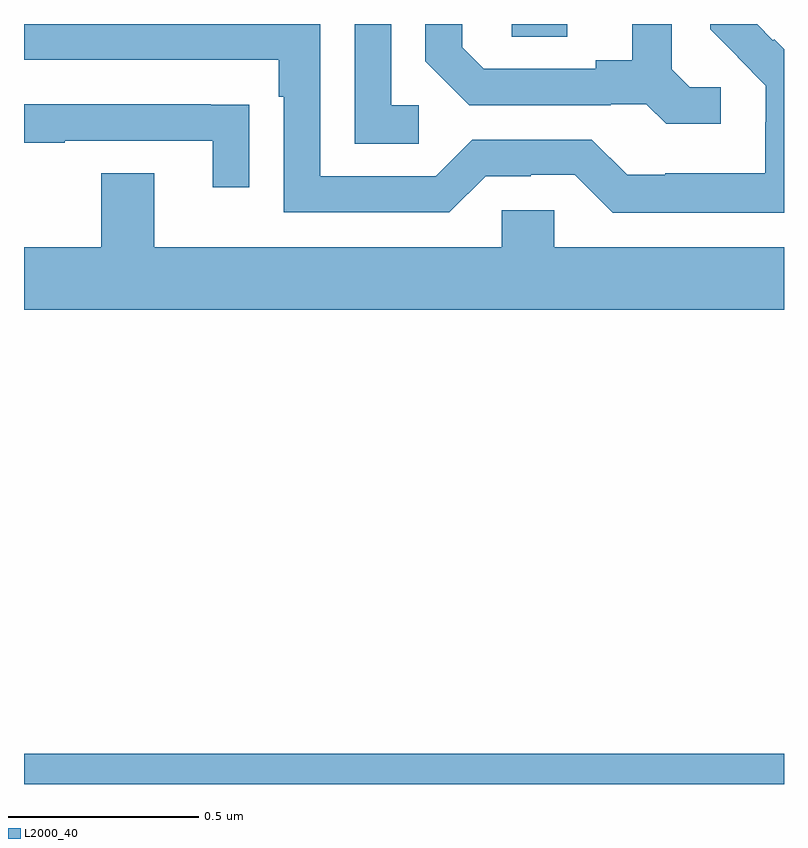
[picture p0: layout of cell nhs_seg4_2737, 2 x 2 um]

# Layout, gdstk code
import gdstk
lib = gdstk.Library(unit=1e-6, precision=1e-09)
def R(c, l, rs):  # rectangles x0, y0, x1, y1
    for r in rs: c.add(gdstk.rectangle(r[:2], r[2:], *l))
def P(c, l, *ps):  # polygons
    for p in ps: c.add(gdstk.Polygon(p, *l))
L2000_40 = (2000, 40)

nhs_seg4_2737 = lib.new_cell('nhs_seg4_2737')
R(nhs_seg4_2737, L2000_40, [(144,800.9,146,800.98), (145.284,802.867,145.429,802.9)])
P(nhs_seg4_2737, L2000_40, [(145.834,802.734),(145.752,802.734),(145.705,802.781),(145.705,802.9),(145.601,802.9),(145.601,802.805),(145.505,802.805),(145.505,802.782),(145.21,802.782),(145.153,802.839),(145.153,802.9),(145.056,802.9),(145.056,802.802),(145.172,802.686),(145.544,802.686),(145.544,802.689),(145.638,802.689),(145.69,802.637),(145.834,802.637)],
  [(145.039,802.686),(144.966,802.686),(144.966,802.9),(144.87,802.9),(144.87,802.585),(145.039,802.585)],
  [(146,802.834),(145.974,802.86),(145.971,802.857),(145.929,802.9),(145.806,802.9),(145.806,802.886),(145.879,802.813),(145.878,802.812),(145.952,802.738),(145.952,802.641),(145.95,802.641),(145.95,802.507),(145.687,802.507),(145.687,802.503),(145.587,802.503),(145.494,802.596),(145.179,802.596),(145.083,802.5),(144.78,802.5),(144.78,802.9),(144,802.9),(144,802.806),(144.671,802.806),(144.671,802.709),(144.684,802.709),(144.684,802.404),(145.119,802.404),(145.215,802.5),(145.334,802.5),(145.334,802.503),(145.449,802.503),(145.549,802.403),(146,802.403)],
  [(144.593,802.688),(144.491,802.688),(144.491,802.689),(144,802.689),(144,802.588),(144.107,802.588),(144.107,802.593),(144.497,802.593),(144.497,802.47),(144.593,802.47)],
  [(146,802.312),(145.395,802.312),(145.395,802.41),(145.257,802.41),(145.257,802.312),(144.343,802.312),(144.343,802.507),(144.203,802.507),(144.203,802.312),(144,802.312),(144,802.148),(146,802.148)])

lib.write_gds('nhs_seg4_2737.gds')
